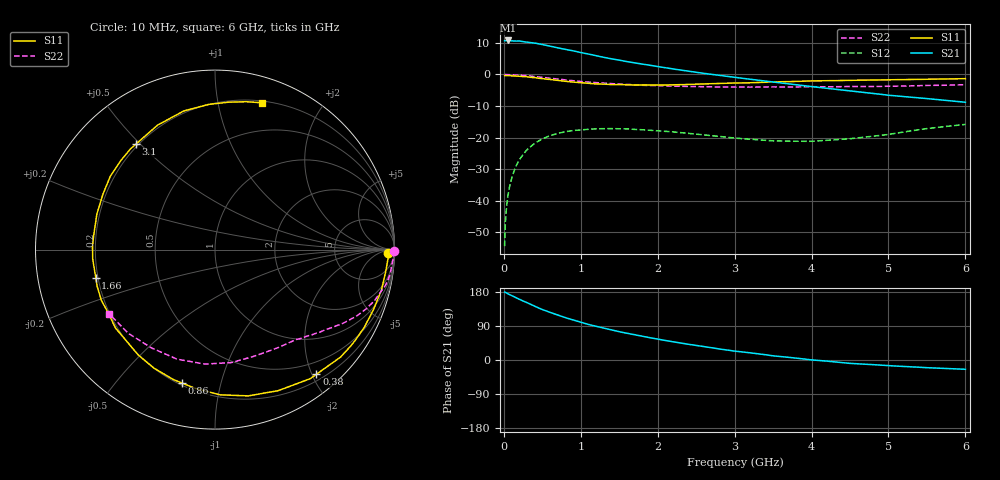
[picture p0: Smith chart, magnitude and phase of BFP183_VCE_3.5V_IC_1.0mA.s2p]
! Infineon Technologies  Discrete & RF Semiconductors
! BFP183
! VCE = 3.5 V,  IC =  1.0 mA
! Common Emitter S-Parameters:  Jan 2016
# GHz  S  MA  R  50
!  f  S11  S21  S12  S22
! GHz  MAG  ANG  MAG  ANG  MAG  ANG  MAG  ANG
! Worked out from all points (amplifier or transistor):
!   210 points, 10 MHz to 6 GHz, reference 50 ohm
!   highest |S21| = 10.8 dB at 50 MHz (marker M1)
!   |S21| within 3 dB of that: start of sweep to 839.5 MHz
!   unconditionally stable (mu >= 1): 2.458 GHz to end of sweep
!   at 185 MHz: K = 0.08, MSG = 19.2 dB, |S12| = -27.8 dB
!   at 1.52 GHz: K = 0.58, MSG = 10.8 dB, |S12| = -17.2 dB
!   at 6 GHz: K = 1.06, MAG = 2.0 dB, |S12| = -15.8 dB
!   S11 on the Smith chart (normalised r, x): 10 MHz: 41, -24; 380 MHz: 0.30, -2.07; 860 MHz: 0.21, -0.76; 1.66 GHz: 0.19, -0.11; 3.1 GHz: 0.19, +0.49; 6 GHz: 0.22, +1.35
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0.01  0.9646 -1.2  3.439 179.4  0.0019 85.3  0.9999 -0.5
0.02  0.9656 -2.9  3.427 178.6  0.0045 89.0  0.9962 -1.0
0.03  0.9632 -4.2  3.438 177.4  0.0068 87.7  0.9959 -1.4
0.05  0.96 -6.8  3.463 175.1  0.0113 86.7  0.9954 -2.3
0.095  0.9543 -13.0  3.425 170.7  0.021 81.8  0.9896 -4.5
0.165  0.9409 -22.7  3.384 163.8  0.0366 75.9  0.9844 -8.0
0.2  0.9376 -27.5  3.395 160.4  0.044 73.3  0.9799 -9.5
0.38  0.8953 -50.9  3.172 143.7  0.0774 59.3  0.9368 -17.1
0.5  0.8611 -65.9  2.987 133.2  0.0954 50.9  0.9029 -21.6
0.6  0.8358 -77.2  2.82 125.7  0.1073 44.5  0.8745 -24.8
0.7  0.8097 -88.0  2.639 118.5  0.1167 38.9  0.8466 -27.5
0.86  0.766 -103.8  2.424 108.0  0.1272 30.9  0.8066 -31.4
1.02  0.7381 -118.9  2.204 98.4  0.1332 23.9  0.771 -34.9
1.3  0.7059 -141.7  1.869 84.1  0.1387 14.2  0.7284 -39.9
1.5  0.6933 -156.0  1.689 74.6  0.1378 8.8  0.7041 -43.1
1.66  0.6826 -166.8  1.558 68.1  0.1359 5.0  0.6893 -45.8
2.02  0.6802 172.3  1.326 54.3  0.128 -1.4  0.6631 -51.7
2.58  0.7103 145.7  1.05 36.0  0.1109 -6.2  0.6399 -62.0
3.1  0.7345 126.9  0.871 21.3  0.0962 -4.8  0.6312 -72.9
4.1  0.7933 100.6  0.623 -1.3  0.0888 12.7  0.6384 -97.9
5.1  0.8272 83.4  0.458 -16.0  0.1174 27.1  0.6531 -125.5
6  0.8585 72.3  0.363 -24.5  0.1617 24.0  0.6896 -148.8
